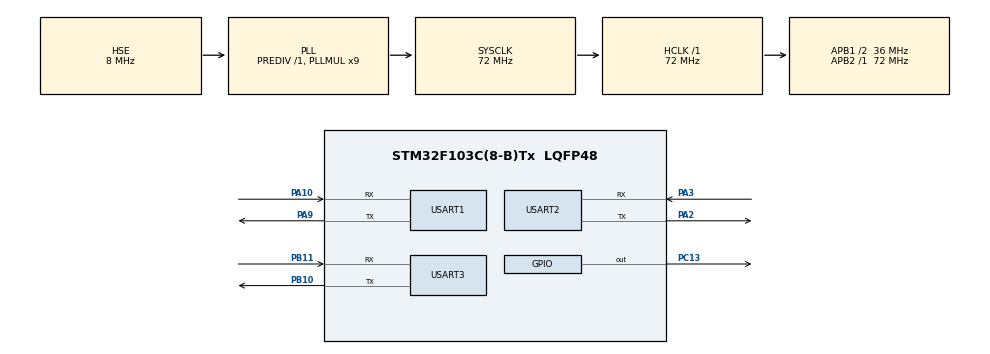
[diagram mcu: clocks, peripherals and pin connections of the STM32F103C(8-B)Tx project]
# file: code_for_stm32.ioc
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Mcu.Family=STM32F1
Mcu.Name=STM32F103C(8-B)Tx
Mcu.Package=LQFP48
NVIC.PriorityGroup=NVIC_PRIORITYGROUP_4
NVIC.TIM1_UP_IRQn=true\:0\:0\:false\:false\:true\:true\:true\:true
NVIC.USART1_IRQn=true\:0\:0\:false\:false\:true\:true\:true\:true
PA10.Mode=Asynchronous
PA10.Signal=USART1_RX
PA13.Mode=Serial_Wire
PA13.Signal=SYS_JTMS-SWDIO
PA14.Mode=Serial_Wire
PA14.Signal=SYS_JTCK-SWCLK
PA2.Mode=Asynchronous
PA2.Signal=USART2_TX
PA3.Mode=Asynchronous
PA3.Signal=USART2_RX
PA9.Mode=Asynchronous
PA9.Signal=USART1_TX
PB10.Mode=Asynchronous
PB10.Signal=USART3_TX
PB11.Mode=Asynchronous
PB11.Signal=USART3_RX
PC13-TAMPER-RTC.Signal=GPIO_Output
PD0-OSC_IN.Mode=HSE-External-Oscillator
PD0-OSC_IN.Signal=RCC_OSC_IN
PD1-OSC_OUT.Mode=HSE-External-Oscillator
PD1-OSC_OUT.Signal=RCC_OSC_OUT
ProjectManager.HeapSize=0x200
ProjectManager.StackSize=0x400
ProjectManager.TargetToolchain=CMake
RCC.AHBFreq_Value=72000000
RCC.APB1CLKDivider=RCC_HCLK_DIV2
RCC.APB1Freq_Value=36000000
RCC.APB1TimFreq_Value=72000000
RCC.APB2Freq_Value=72000000
RCC.APB2TimFreq_Value=72000000
RCC.HCLKFreq_Value=72000000
RCC.PLLMUL=RCC_PLL_MUL9
RCC.PLLSourceVirtual=RCC_PLLSOURCE_HSE
RCC.SYSCLKFreq_VALUE=72000000
RCC.SYSCLKSource=RCC_SYSCLKSOURCE_PLLCLK
RCC.USBFreq_Value=72000000
TIM1.Period=499
TIM1.Prescaler=719
TIM2.Prescaler=719
USART1.VirtualMode=VM_ASYNC
USART2.VirtualMode=VM_ASYNC
USART3.VirtualMode=VM_ASYNC
VP_TIM1_VS_ClockSourceINT.Mode=Internal
VP_TIM2_VS_ClockSourceINT.Mode=Internal
board=custom

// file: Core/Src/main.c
/* USER CODE BEGIN Header */
/**
  ******************************************************************************
  * @file           : main.c
  * @brief          : Main program body
  ******************************************************************************
  * @attention
  *
  * Copyright (c) 2026 STMicroelectronics.
  * All rights reserved.
  *
  * This software is licensed under terms that can be found in the LICENSE file
  * in the root directory of this software component.
  * If no LICENSE file comes with this software, it is provided AS-IS.
  *
  ******************************************************************************
  */
/* USER CODE END Header */
#include "main.h"

/* USER CODE BEGIN Includes */
#include <string.h>
#include <stdbool.h>
#include "PID.h"

/* USER CODE END Includes */

TIM_HandleTypeDef htim1;
TIM_HandleTypeDef htim2;

UART_HandleTypeDef huart1;
UART_HandleTypeDef huart2;
UART_HandleTypeDef huart3;

void SystemClock_Config(void);
static void MX_GPIO_Init(void);
static void MX_USART1_UART_Init(void);
static void MX_USART2_UART_Init(void);
static void MX_USART3_UART_Init(void);
static void MX_TIM1_Init(void);
static void MX_TIM2_Init(void);

/* USER CODE BEGIN 0 */
static uint8_t receiveData[4];
static int32_t dx, dy;
static double dx_dt = 0.0, dy_dt = 0.0;
static int32_t prev_dx, prev_dy;
static uint16_t prev_tick;
static bool first_capture = true;

static PID *pid_x, *pid_y;
static double x_ctl, y_ctl;
static uint8_t tx2_buf[8] = {0x01, 0xF6, 0x00, 0x00, 0x00, 0x00, 0x00, 0x6B};
static uint8_t tx3_buf[8] = {0x01, 0xF6, 0x00, 0x00, 0x00, 0x00, 0x00, 0x6B};

static void send_ctl(UART_HandleTypeDef *huart, uint8_t *buf, double ctl)
{
  uint16_t speed;
  if (ctl >= 0)
  {
    buf[2] = 0x00;
    speed = (uint16_t)ctl;
  }
  else
  {
    buf[2] = 0x01;
    speed = (uint16_t)(-ctl);
  }
  buf[3] = speed >> 8;
  buf[4] = speed & 0xFF;
  HAL_UART_Transmit(huart, buf, 8, 100);
}

void HAL_UART_RxCpltCallback(UART_HandleTypeDef *huart)
{
  if (huart == &huart1)
  {
    uint16_t cur_tick = __HAL_TIM_GET_COUNTER(&htim2);
    dx = receiveData[0]*256+receiveData[1];
    dy = receiveData[2]*256+receiveData[3];

    if (!first_capture)
    {
      uint32_t dt_ticks;
      if (cur_tick >= prev_tick)
        dt_ticks = cur_tick - prev_tick;
      else
        dt_ticks = 65536 + cur_tick - prev_tick;

      double dt = dt_ticks * 0.00001;
      if (dt > 0)
      {
        dx_dt = (dx - prev_dx) / dt;
        dy_dt = (dy - prev_dy) / dt;
      }
    }
    else
    {
      first_capture = 0;
    }

    prev_tick = cur_tick;
    prev_dx = dx;
    prev_dy = dy;

    HAL_UART_Receive_IT(&huart1, receiveData, 4);
  }
}

void HAL_TIM_PeriodElapsedCallback(TIM_HandleTypeDef *htim)
{
  if (htim == &htim1)
  {
    uint32_t elapsed_ticks;
    uint16_t now = __HAL_TIM_GET_COUNTER(&htim2);
    if (now >= prev_tick)
      elapsed_ticks = now - prev_tick;
    else
      elapsed_ticks = 65536 + now - prev_tick;

    double elapsed = elapsed_ticks * 0.00001;
    double pred_x = dx + dx_dt * elapsed;
    double pred_y = dy + dy_dt * elapsed;
    x_ctl = pid_step(pid_x, pred_x, 0.0);
    y_ctl = pid_step(pid_y, pred_y, 0.0);

    send_ctl(&huart2, tx2_buf, x_ctl);
    send_ctl(&huart3, tx3_buf, y_ctl);
  }
}

/* USER CODE END 0 */

int main(void)
{

  /* USER CODE BEGIN 1 */
  pid_x = pid_create(1.0, 1.0, 1.0, 2000, -2000, 0.005);
  pid_y = pid_create(1.0, 1.0, 1.0, 2000, -2000, 0.005);

  /* USER CODE END 1 */

  /* MCU Configuration--------------------------------------------------------*/

  /* Reset of all peripherals, Initializes the Flash interface and the Systick. */
  HAL_Init();

  /* Configure the system clock */
  SystemClock_Config();

  /* Initialize all configured peripherals */
  MX_GPIO_Init();
  MX_USART1_UART_Init();
  MX_USART2_UART_Init();
  MX_USART3_UART_Init();
  MX_TIM1_Init();
  MX_TIM2_Init();
  /* USER CODE BEGIN 2 */
  HAL_TIM_Base_Start(&htim2);
  HAL_TIM_Base_Start_IT(&htim1);
  HAL_UART_Receive_IT(&huart1, receiveData, 4);

  /* USER CODE END 2 */

  /* Infinite loop */
  /* USER CODE BEGIN WHILE */
  while (1)
  {
    __WFI();
    /* USER CODE END WHILE */

  }
}

void SystemClock_Config(void)
{
  RCC_OscInitTypeDef RCC_OscInitStruct = {0};
  RCC_ClkInitTypeDef RCC_ClkInitStruct = {0};

  /** Initializes the RCC Oscillators according to the specified parameters
  * in the RCC_OscInitTypeDef structure.
  */
  RCC_OscInitStruct.OscillatorType = RCC_OSCILLATORTYPE_HSE;
  RCC_OscInitStruct.HSEState = RCC_HSE_ON;
  RCC_OscInitStruct.HSEPredivValue = RCC_HSE_PREDIV_DIV1;
  RCC_OscInitStruct.HSIState = RCC_HSI_ON;
  RCC_OscInitStruct.PLL.PLLState = RCC_PLL_ON;
  RCC_OscInitStruct.PLL.PLLSource = RCC_PLLSOURCE_HSE;
  RCC_OscInitStruct.PLL.PLLMUL = RCC_PLL_MUL9;
  if (HAL_RCC_OscConfig(&RCC_OscInitStruct) != HAL_OK)
  {
    Error_Handler();
  }

  /** Initializes the CPU, AHB and APB buses clocks
  */
  RCC_ClkInitStruct.ClockType = RCC_CLOCKTYPE_HCLK|RCC_CLOCKTYPE_SYSCLK
                              |RCC_CLOCKTYPE_PCLK1|RCC_CLOCKTYPE_PCLK2;
  RCC_ClkInitStruct.SYSCLKSource = RCC_SYSCLKSOURCE_PLLCLK;
  RCC_ClkInitStruct.AHBCLKDivider = RCC_SYSCLK_DIV1;
  RCC_ClkInitStruct.APB1CLKDivider = RCC_HCLK_DIV2;
  RCC_ClkInitStruct.APB2CLKDivider = RCC_HCLK_DIV1;

  if (HAL_RCC_ClockConfig(&RCC_ClkInitStruct, FLASH_LATENCY_2) != HAL_OK)
  {
    Error_Handler();
  }
}

static void MX_TIM1_Init(void)
{

  TIM_ClockConfigTypeDef sClockSourceConfig = {0};
  TIM_MasterConfigTypeDef sMasterConfig = {0};

  htim1.Instance = TIM1;
  htim1.Init.Prescaler = 719;
  htim1.Init.CounterMode = TIM_COUNTERMODE_UP;
  htim1.Init.Period = 499;
  htim1.Init.ClockDivision = TIM_CLOCKDIVISION_DIV1;
  htim1.Init.RepetitionCounter = 0;
  htim1.Init.AutoReloadPreload = TIM_AUTORELOAD_PRELOAD_DISABLE;
  if (HAL_TIM_Base_Init(&htim1) != HAL_OK)
  {
    Error_Handler();
  }
  sClockSourceConfig.ClockSource = TIM_CLOCKSOURCE_INTERNAL;
  if (HAL_TIM_ConfigClockSource(&htim1, &sClockSourceConfig) != HAL_OK)
  {
    Error_Handler();
  }
  sMasterConfig.MasterOutputTrigger = TIM_TRGO_RESET;
  sMasterConfig.MasterSlaveMode = TIM_MASTERSLAVEMODE_DISABLE;
  if (HAL_TIMEx_MasterConfigSynchronization(&htim1, &sMasterConfig) != HAL_OK)
  {
    Error_Handler();
  }

}

static void MX_TIM2_Init(void)
{

  TIM_ClockConfigTypeDef sClockSourceConfig = {0};
  TIM_MasterConfigTypeDef sMasterConfig = {0};

  htim2.Instance = TIM2;
  htim2.Init.Prescaler = 719;
  htim2.Init.CounterMode = TIM_COUNTERMODE_UP;
  htim2.Init.Period = 65535;
  htim2.Init.ClockDivision = TIM_CLOCKDIVISION_DIV1;
  htim2.Init.AutoReloadPreload = TIM_AUTORELOAD_PRELOAD_DISABLE;
  if (HAL_TIM_Base_Init(&htim2) != HAL_OK)
  {
    Error_Handler();
  }
  sClockSourceConfig.ClockSource = TIM_CLOCKSOURCE_INTERNAL;
  if (HAL_TIM_ConfigClockSource(&htim2, &sClockSourceConfig) != HAL_OK)
  {
    Error_Handler();
  }
  sMasterConfig.MasterOutputTrigger = TIM_TRGO_RESET;
  sMasterConfig.MasterSlaveMode = TIM_MASTERSLAVEMODE_DISABLE;
  if (HAL_TIMEx_MasterConfigSynchronization(&htim2, &sMasterConfig) != HAL_OK)
  {
    Error_Handler();
  }

}

static void MX_USART1_UART_Init(void)
{

  huart1.Instance = USART1;
  huart1.Init.BaudRate = 115200;
  huart1.Init.WordLength = UART_WORDLENGTH_8B;
  huart1.Init.StopBits = UART_STOPBITS_1;
  huart1.Init.Parity = UART_PARITY_NONE;
  huart1.Init.Mode = UART_MODE_TX_RX;
  huart1.Init.HwFlowCtl = UART_HWCONTROL_NONE;
  huart1.Init.OverSampling = UART_OVERSAMPLING_16;
  if (HAL_UART_Init(&huart1) != HAL_OK)
  {
    Error_Handler();
  }

}

static void MX_USART2_UART_Init(void)
{

  huart2.Instance = USART2;
  huart2.Init.BaudRate = 115200;
  huart2.Init.WordLength = UART_WORDLENGTH_8B;
  huart2.Init.StopBits = UART_STOPBITS_1;
  huart2.Init.Parity = UART_PARITY_NONE;
  huart2.Init.Mode = UART_MODE_TX_RX;
  huart2.Init.HwFlowCtl = UART_HWCONTROL_NONE;
  huart2.Init.OverSampling = UART_OVERSAMPLING_16;
  if (HAL_UART_Init(&huart2) != HAL_OK)
  {
    Error_Handler();
  }

}

static void MX_USART3_UART_Init(void)
{

  huart3.Instance = USART3;
  huart3.Init.BaudRate = 115200;
  huart3.Init.WordLength = UART_WORDLENGTH_8B;
  huart3.Init.StopBits = UART_STOPBITS_1;
  huart3.Init.Parity = UART_PARITY_NONE;
  huart3.Init.Mode = UART_MODE_TX_RX;
  huart3.Init.HwFlowCtl = UART_HWCONTROL_NONE;
  huart3.Init.OverSampling = UART_OVERSAMPLING_16;
  if (HAL_UART_Init(&huart3) != HAL_OK)
  {
    Error_Handler();
  }

}

static void MX_GPIO_Init(void)
{
  GPIO_InitTypeDef GPIO_InitStruct = {0};

  /* GPIO Ports Clock Enable */
  __HAL_RCC_GPIOC_CLK_ENABLE();
  __HAL_RCC_GPIOD_CLK_ENABLE();
  __HAL_RCC_GPIOA_CLK_ENABLE();
  __HAL_RCC_GPIOB_CLK_ENABLE();

  /*Configure GPIO pin Output Level */
  HAL_GPIO_WritePin(GPIOC, GPIO_PIN_13, GPIO_PIN_RESET);

  /*Configure GPIO pin : PC13 */
  GPIO_InitStruct.Pin = GPIO_PIN_13;
  GPIO_InitStruct.Mode = GPIO_MODE_OUTPUT_PP;
  GPIO_InitStruct.Pull = GPIO_NOPULL;
  GPIO_InitStruct.Speed = GPIO_SPEED_FREQ_LOW;
  HAL_GPIO_Init(GPIOC, &GPIO_InitStruct);

}

void Error_Handler(void)
{
  __disable_irq();
  while (1)
  {
  }
}
